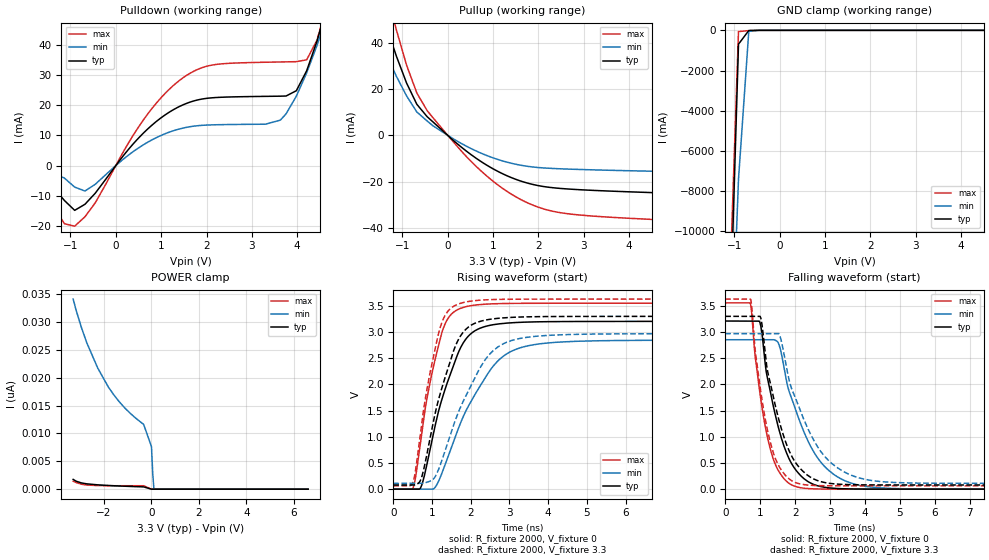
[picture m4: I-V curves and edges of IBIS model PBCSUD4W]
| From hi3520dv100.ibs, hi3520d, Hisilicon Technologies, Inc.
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|   Model PBCSUD4W
[Model] PBCSUD4W
Model_type I/O
Vinl  =  0.8
Vinh  =  2
| Capacitance   typ   min   max
C_comp   4.43664801011e-12   4.76508315062e-12   4.32877937727e-12
| Variables   typ   min   max
[GND Clamp Reference]   0   0   0
[POWER Clamp Reference]   3.3   2.97   3.63
[Pulldown Reference]   0   0   0
[Pullup Reference]   3.3   2.97   3.63
[Temperature Range]   25   125   -40
[Voltage Range]   3.3   2.97   3.63
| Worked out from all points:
|   slope of the pulldown table from 0 to 0.495 V, typ, clamps not added: 54.9 ohm
|   slope of the pullup table from 0 to 0.495 V, typ, clamps not added: 61.5 ohm
|   GND clamp passes 1 mA (typ) near -0.47 V on its own axis
|   falling waveform, R_fixture 2000, V_fixture 0: 20-80 % time 669ps typ, 979ps min, 498ps max; typ from 3.21 V to 0 V
|   falling waveform, R_fixture 2000, V_fixture 3.3: 20-80 % time 700ps typ, 1.04ns min, 517ps max; typ from 3.3 V to 0.08 V
|   rising waveform, R_fixture 2000, V_fixture 0: 20-80 % time 739ps typ, 1.12ns min, 531ps max; typ from 0 V to 3.21 V
|   rising waveform, R_fixture 2000, V_fixture 3.3: 20-80 % time 681ps typ, 992ps min, 499ps max; typ from 0.08 V to 3.3 V
[GND Clamp]
| Voltage   I(typ)   I(min)   I(max)
-3.3V     -188.9A    -149.1A    -233.9A
-1.134V   -17.72A    -20.86A    -15.03A
-907.5mV  -688.5mA   -7.415A    -61.83mA
-680.6mV  -10.26mA   -48mA      -14.39mA
-453.7mV  -326.6uA   -588.2uA   -301.9uA
6.6V      0A         0A         0A
[POWER Clamp]
| Voltage   I(typ)   I(min)   I(max)
-3.3V     1.753nA    34.12nA    1.432nA
-3.176V   1.43nA     32.14nA    1.194nA
-2.949V   1.119nA    28.98nA    885.9pA
-2.723V   952.2pA    26.24nA    745.2pA
-2.269V   777.1pA    21.77nA    646.3pA
-1.815V   662.1pA    18.32nA    614.2pA
-1.134V   529.6pA    14.62nA    614.2pA
-330mV    408pA      11.62nA    614.2pA
0V        0A         7.62nA     0A
51.56mV   0A         2.857nA    0A
103.1mV   0A         0A         0A
6.6V      0A         0A         0A
[Pulldown]
| Voltage   I(typ)   I(min)   I(max)
-3.3V     -402.3uA   -281.6uA   -477.2uA
-2.042V   -1.213mA   -648.5uA   -2.022mA
-1.588V   -3.475mA   -1.213mA   -8.373mA
-907.5mV  -14.82mA   -7.123mA   -20.07mA
-680.6mV  -12.81mA   -8.424mA   -16.94mA
721.9mV   12.38mA    7.895mA    17.44mA
1.65V     21.08mA    12.9mA     30.67mA
3.63V     22.98mA    15.06mA    34.3mA
3.981V    24.79mA    23mA       34.4mA
4.207V    31.37mA    30.69mA    35.01mA
4.661V    52.95mA    49.8mA     53.41mA
6.6V      191.6mA    90.19mA    218.9mA
[Pullup]
| Voltage   I(typ)   I(min)   I(max)
-3.3V     185.7mA    97.84mA    234.3mA
-1.588V   61.99mA    46.14mA    81.37mA
-1.361V   47.63mA    35.4mA     62.91mA
-1.134V   34.33mA    25.59mA    45.71mA
-907.5mV  22.59mA    17.04mA    30.31mA
-680.6mV  13.39mA    10.08mA    18.26mA
-453.7mV  8.067mA    6.193mA    10.68mA
721.9mV   -11.16mA   -7.591mA   -15.16mA
1.289V    -17.31mA   -11.49mA   -23.98mA
1.805V    -20.87mA   -13.5mA    -29.56mA
2.733V    -23.28mA   -14.63mA   -34.07mA
6.6V      -27.51mA   -17.55mA   -39.76mA
[Ramp]
dV/dt_r   1.92358/0.739255n  1.7093/1.11958n  2.13153/0.530854n
dV/dt_f   1.93206/0.700158n  1.716/1.04486n  2.13994/0.516918n
R_load = 2000
[Falling Waveform]
R_fixture = 2000
V_fixture = 0
V_fixture_min = 0
V_fixture_max = 0
| Time   V(typ)   V(min)   V(max)
0s        3.211V     2.854V     3.558V
713.5ps   3.21V      2.853V     3.557V
983.7ps   3.198V     2.853V     1.88V
1.19ns    2.181V     2.853V     1.048V
1.454ns   1.359V     2.837V     441.9mV
1.788ns   638.2mV    1.96V      130.6mV
2.235ns   211.5mV    1.123V     19.6mV
3.127ns   16.01mV    273.2mV    572.3uV
4.709ns   402.3uV    15.46mV    100.5uV
50ns      15.26uV    33.19uV    8.46uV
[Falling Waveform]
R_fixture = 2000
V_fixture = 3.3
V_fixture_min = 2.97
V_fixture_max = 3.63
| Time   V(typ)   V(min)   V(max)
0s        3.3V       2.97V      3.63V
733.2ps   3.3V       2.97V      3.616V
997.1ps   3.3V       2.97V      1.955V
1.206ns   2.274V     2.97V      1.135V
1.501ns   1.412V     2.97V      484.6mV
1.833ns   727.6mV    2.073V     194.6mV
2.288ns   303.6mV    1.274V     83.04mV
3.266ns   94.11mV    385.1mV    63.88mV
4.967ns   80.25mV    124.4mV    63.53mV
50ns      79.89mV    110mV      63.44mV
[Rising Waveform]
R_fixture = 2000
V_fixture = 0
V_fixture_min = 0
V_fixture_max = 0
| Time   V(typ)   V(min)   V(max)
0s        38.54nV    1.561uV    20.72nV
517.1ps   38.54nV    254.6uV    35.8mV
751.3ps   114.8mV    254.6uV    1.164V
1.062ns   1.15V      19.96mV    2.423V
1.331ns   1.895V     455.4mV    3.147V
1.768ns   2.745V     1.321V     3.462V
2.155ns   3.044V     1.865V     3.519V
3.061ns   3.178V     2.637V     3.547V
5.044ns   3.202V     2.83V      3.551V
50ns      3.206V     2.849V     3.553V
[Rising Waveform]
R_fixture = 2000
V_fixture = 3.3
V_fixture_min = 2.97
V_fixture_max = 3.63
| Time   V(typ)   V(min)   V(max)
0s        79.88mV    110mV      63.43mV
517.3ps   80.1mV     110.2mV    152.4mV
738.1ps   240.6mV    110.2mV    1.279V
1.053ns   1.353V     208.6mV    2.583V
1.28ns    1.998V     606.2mV    3.231V
1.667ns   2.836V     1.444V     3.531V
2.126ns   3.174V     2.155V     3.602V
2.918ns   3.275V     2.802V     3.626V
4.715ns   3.298V     2.956V     3.629V
50ns      3.3V       2.97V      3.63V
